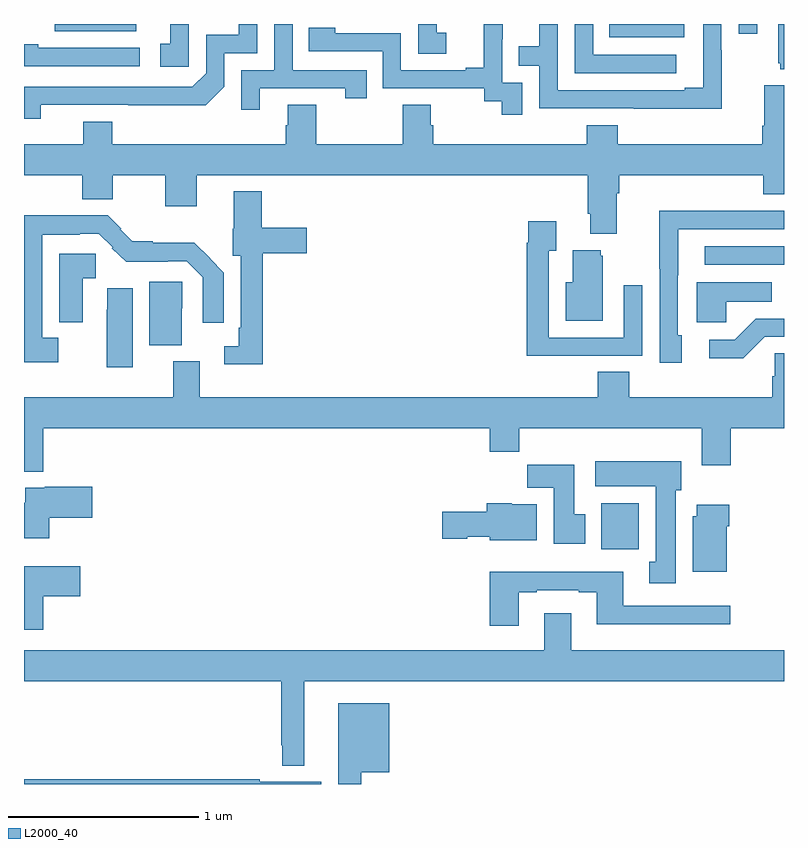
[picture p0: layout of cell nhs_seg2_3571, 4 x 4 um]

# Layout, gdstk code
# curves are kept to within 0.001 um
import gdstk
lib = gdstk.Library(unit=1e-6, precision=1e-09)
def R(c, l, rs):  # rectangles x0, y0, x1, y1
    for r in rs: c.add(gdstk.rectangle(r[:2], r[2:], *l))
def P(c, l, *ps):  # polygons
    for p in ps: c.add(gdstk.Polygon(p, *l))
L2000_40 = (2000, 40)

nhs_seg2_3571 = lib.new_cell('nhs_seg2_3571')
R(nhs_seg2_3571, L2000_40, [(302.039,611.036,302.236,611.278), (302.583,612.534,303,612.63), (302.08,613.73,302.476,613.8), (302.763,613.749,302.859,613.8), (299.163,613.763,299.59,613.8)])
P(nhs_seg2_3571, L2000_40, [(302.434,613.638),(301.995,613.638),(301.995,613.8),(301.899,613.8),(301.899,613.542),(302.434,613.542)],
  [(303,613.8),(302.969,613.8),(302.969,613.593),(302.981,613.593),(302.981,613.562),(303,613.562)],
  [(301.623,613.491),(301.518,613.491),(301.518,613.721),(301.52,613.721),(301.52,613.8),(301.421,613.8),(301.421,613.57),(301.325,613.57),(301.325,613.557),(300.984,613.557),(300.984,613.752),(300.639,613.752),(300.639,613.779),(300.499,613.779),(300.499,613.656),(300.888,613.656),(300.888,613.461),(301.422,613.461),(301.422,613.393),(301.515,613.393),(301.515,613.323),(301.623,613.323)],
  [(300.241,613.461),(300.692,613.461),(300.692,613.41),(300.803,613.41),(300.803,613.557),(300.414,613.557),(300.414,613.8),(300.318,613.8),(300.318,613.557),(300.144,613.557),(300.144,613.35),(300.241,613.35)],
  [(301.222,613.753),(301.173,613.753),(301.173,613.8),(301.074,613.8),(301.074,613.644),(301.222,613.644)],
  [(299.868,613.8),(299.771,613.8),(299.771,613.695),(299.718,613.695),(299.718,613.575),(299.868,613.575)],
  [(302.673,613.661),(302.67,613.661),(302.67,613.8),(302.574,613.8),(302.574,613.465),(302.477,613.465),(302.477,613.452),(301.809,613.452),(301.809,613.8),(301.713,613.8),(301.713,613.682),(301.603,613.682),(301.603,613.581),(301.713,613.581),(301.713,613.356),(302.209,613.356),(302.209,613.355),(302.673,613.355)],
  [(299.088,613.374),(299.956,613.373),(300.054,613.47),(300.054,613.647),(300.228,613.647),(300.228,613.8),(300.131,613.8),(300.131,613.743),(299.958,613.743),(299.958,613.542),(299.886,613.47),(299,613.47),(299,613.301),(299.088,613.301)],
  [(299.608,613.674),(299.075,613.674),(299.075,613.694),(299,613.694),(299,613.578),(299.608,613.578)],
  [(302.119,612.908),(302.132,612.908),(302.132,613.004),(302.891,613.004),(302.891,612.905),(303,612.905),(303,613.477),(302.897,613.477),(302.897,613.264),(302.885,613.264),(302.885,613.168),(302.126,613.168),(302.126,613.267),(301.961,613.267),(301.961,613.168),(301.154,613.168),(301.154,613.266),(301.141,613.266),(301.141,613.376),(300.994,613.376),(300.994,613.168),(300.537,613.168),(300.537,613.376),(300.389,613.376),(300.389,613.266),(300.377,613.266),(300.377,613.168),(299.465,613.168),(299.465,613.285),(299.312,613.285),(299.312,613.168),(299,613.168),(299,613.004),(299.306,613.004),(299.306,612.878),(299.467,612.878),(299.467,613.004),(299.744,613.004),(299.744,612.84),(299.908,612.84),(299.908,613.004),(301.967,613.004),(301.967,612.802),(301.979,612.802),(301.979,612.695),(302.119,612.695)],
  [(300.257,612.593),(300.487,612.593),(300.487,612.727),(300.251,612.727),(300.251,612.919),(300.104,612.919),(300.104,612.723),(300.099,612.723),(300.099,612.581),(300.141,612.581),(300.141,612.202),(300.129,612.202),(300.129,612.105),(300.054,612.105),(300.054,612.008),(300.257,612.008)],
  [(302.461,612.162),(302.442,612.162),(302.442,612.478),(302.443,612.478),(302.443,612.72),(303,612.72),(303,612.816),(302.807,612.816),(302.807,612.818),(302.344,612.818),(302.344,612.511),(302.346,612.511),(302.346,612.018),(302.461,612.018)],
  [(299.18,612.148),(299.097,612.148),(299.097,612.692),(299.294,612.692),(299.294,612.696),(299.394,612.696),(299.466,612.624),(299.463,612.621),(299.537,612.548),(299.756,612.548),(299.756,612.552),(299.856,612.552),(299.94,612.468),(299.94,612.228),(300.052,612.228),(300.052,612.492),(299.897,612.649),(299.677,612.649),(299.677,612.657),(299.569,612.657),(299.507,612.719),(299.511,612.723),(299.441,612.793),(299,612.793),(299.001,612.02),(299.18,612.02)],
  [(301.937,612.054),(302.253,612.054),(302.253,612.424),(302.157,612.424),(302.157,612.15),(301.761,612.15),(301.761,612.607),(301.801,612.607),(301.801,612.763),(301.653,612.763),(301.653,612.65),(301.645,612.65),(301.645,612.053),(301.937,612.053)],
  [(302.047,612.579),(302.036,612.579),(302.036,612.61),(301.889,612.61),(301.889,612.442),(301.85,612.442),(301.85,612.239),(302.047,612.239)],
  [(299.308,612.461),(299.377,612.461),(299.377,612.59),(299.186,612.59),(299.186,612.229),(299.308,612.229)],
  [(299.83,612.303),(299.832,612.303),(299.832,612.444),(299.66,612.444),(299.66,612.11),(299.83,612.11)],
  [(302.697,612.338),(302.936,612.338),(302.936,612.442),(302.54,612.442),(302.54,612.23),(302.697,612.23)],
  [(299.572,612.409),(299.438,612.409),(299.438,612.296),(299.435,612.296),(299.435,611.994),(299.572,611.994)],
  [(302.898,612.153),(303,612.153),(303,612.249),(302.852,612.249),(302.741,612.138),(302.607,612.138),(302.607,612.041),(302.785,612.041)],
  [(299.1,611.672),(301.451,611.672),(301.451,611.548),(301.607,611.548),(301.607,611.672),(302.567,611.672),(302.567,611.478),(302.72,611.478),(302.72,611.672),(303,611.672),(303,612.068),(302.952,612.068),(302.952,611.945),(302.939,611.945),(302.939,611.836),(302.186,611.836),(302.186,611.969),(302.021,611.969),(302.021,611.836),(299.926,611.836),(299.926,612.025),(299.786,612.025),(299.786,611.836),(299,611.836),(299,611.444),(299.1,611.444)],
  [(302.431,611.346),(302.458,611.346),(302.458,611.5),(302.007,611.5),(302.007,611.366),(302.324,611.366),(302.324,610.97),(302.291,610.97),(302.291,610.857),(302.431,610.857)],
  [(301.954,611.22),(301.897,611.22),(301.897,611.479),(301.648,611.479),(301.648,611.36),(301.787,611.36),(301.787,611.064),(301.954,611.064)],
  [(299.134,611.201),(299.359,611.201),(299.359,611.364),(299.11,611.364),(299.11,611.359),(299.006,611.359),(299.006,611.281),(299,611.281),(299,611.093),(299.134,611.093)],
  [(301.699,611.272),(301.566,611.272),(301.566,611.278),(301.436,611.278),(301.436,611.232),(301.2,611.232),(301.2,611.09),(301.332,611.09),(301.332,611.102),(301.452,611.102),(301.452,611.084),(301.699,611.084)],
  [(302.698,611.156),(302.711,611.156),(302.711,611.269),(302.54,611.269),(302.54,611.208),(302.519,611.208),(302.519,610.916),(302.698,610.916)],
  [(299.102,610.787),(299.296,610.787),(299.296,610.945),(299,610.945),(299,610.611),(299.102,610.611)],
  [(301.603,610.809),(301.699,610.809),(301.699,610.821),(301.919,610.821),(301.919,610.809),(302.015,610.809),(302.015,610.64),(302.716,610.64),(302.716,610.737),(302.155,610.737),(302.155,610.918),(301.451,610.918),(301.451,610.632),(301.603,610.632)],
  [(300.475,610.34),(303,610.34),(303,610.504),(301.879,610.504),(301.879,610.699),(301.739,610.699),(301.739,610.504),(299,610.504),(299,610.34),(300.354,610.34),(300.354,610.003),(300.36,610.003),(300.36,609.896),(300.475,609.896)],
  [(300.775,609.863),(300.922,609.863),(300.922,610.225),(300.653,610.225),(300.653,609.8),(300.775,609.8)],
  [(300.565,609.811),(300.242,609.811),(300.242,609.824),(299,609.824),(299,609.8),(300.565,609.8)])

lib.write_gds('nhs_seg2_3571.gds')
